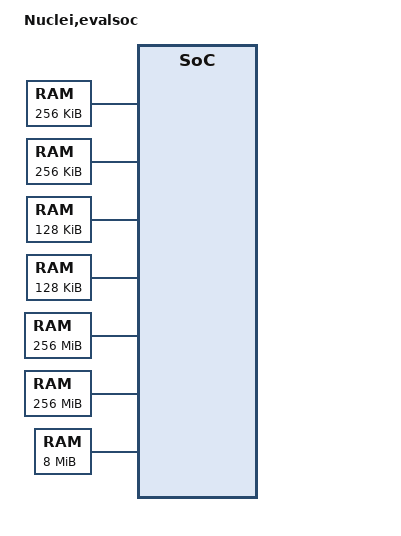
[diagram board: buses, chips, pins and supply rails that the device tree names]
/*
 * Copyright (c) 2021 Tokita, Hiroshi <tokita.hiroshi@gmail.com>
 *
 * SPDX-License-Identifier: Apache-2.0
 */

#include <freq.h>
#include <mem.h>

/ {
	#address-cells = <1>;
	#size-cells = <1>;
	compatible = "nuclei,evalsoc-dev", "nuclei-dev";
	model = "Nuclei,evalsoc";

	clocks {
		coreclk: core-clk {
			#clock-cells = <0>;
			compatible = "fixed-clock";
			clock-frequency = <DT_FREQ_M(50)>;
		};

		tlclk: tl-clk {
			#clock-cells = <0>;
			compatible = "fixed-factor-clock";
			clocks = <&coreclk>;
			clock-div = <1>;
		};
	};

	cpus {
		#address-cells = <1>;
		#size-cells = <0>;

		cpu0: cpu@0 {
			clock-frequency = <DT_FREQ_M(50)>;
			compatible = "nuclei,riscv", "riscv";
			riscv,isa = "rv32imafdc";
			reg = <0>;
			cpu0_intc: interrupt-controller {
				compatible = "riscv,cpu-intc";
				#interrupt-cells = <1>;
				interrupt-controller;
			};

		};

		cpu1: cpu@1 {
			clock-frequency = <DT_FREQ_M(50)>;
			compatible = "nuclei,riscv", "riscv";
			riscv,isa = "rv32imafdc";
			reg = <1>;
			cpu1_intc: interrupt-controller {
				compatible = "riscv,cpu-intc";
				#interrupt-cells = <1>;
				interrupt-controller;
			};
		};

		cpu2: cpu@2 {
			clock-frequency = <DT_FREQ_M(50)>;
			compatible = "nuclei,riscv", "riscv";
			riscv,isa = "rv32imafdc";
			reg = <2>;
			cpu2_intc: interrupt-controller {
				compatible = "riscv,cpu-intc";
				#interrupt-cells = <1>;
				interrupt-controller;
			};
		};

		cpu3: cpu@3 {
			clock-frequency = <DT_FREQ_M(50)>;
			compatible = "nuclei,riscv", "riscv";
			riscv,isa = "rv32imafdc";
			reg = <3>;
			cpu3_intc: interrupt-controller {
				compatible = "riscv,cpu-intc";
				#interrupt-cells = <1>;
				interrupt-controller;
			};
		};

		cpu4: cpu@4 {
			clock-frequency = <DT_FREQ_M(50)>;
			compatible = "nuclei,riscv", "riscv";
			riscv,isa = "rv32imafdc";
			reg = <4>;
			cpu4_intc: interrupt-controller {
				compatible = "riscv,cpu-intc";
				#interrupt-cells = <1>;
				interrupt-controller;
			};
		};

		cpu5: cpu@5 {
			clock-frequency = <DT_FREQ_M(50)>;
			compatible = "nuclei,riscv", "riscv";
			riscv,isa = "rv32imafdc";
			reg = <5>;
			cpu5_intc: interrupt-controller {
				compatible = "riscv,cpu-intc";
				#interrupt-cells = <1>;
				interrupt-controller;
			};
		};

		cpu6: cpu@6 {
			clock-frequency = <DT_FREQ_M(50)>;
			compatible = "nuclei,riscv", "riscv";
			riscv,isa = "rv32imafdc";
			reg = <6>;
			cpu6_intc: interrupt-controller {
				compatible = "riscv,cpu-intc";
				#interrupt-cells = <1>;
				interrupt-controller;
			};
		};

		cpu7: cpu@7 {
			clock-frequency = <DT_FREQ_M(50)>;
			compatible = "nuclei,riscv", "riscv";
			riscv,isa = "rv32imafdc";
			reg = <7>;
			cpu7_intc: interrupt-controller {
				compatible = "riscv,cpu-intc";
				#interrupt-cells = <1>;
				interrupt-controller;
			};
		};
	};

	ilm: memory@80000000 {
		compatible = "mmio-sram";
		reg = <0x80000000 DT_SIZE_K(256)>;
	};

	dlm: memory@90000000 {
		compatible = "mmio-sram";
		reg = <0x90000000 DT_SIZE_K(256)>;
	};

	sram0: memory@A0000000 {
		compatible = "mmio-sram";
		reg = <0xA0000000 DT_SIZE_K(128)>;
	};

	sram1: memory@A0200000 {
		compatible = "mmio-sram";
		reg = <0xA0200000 DT_SIZE_K(128)>;
	};

	ddr0: memory@B0000000 {
		compatible = "mmio-sram";
		reg = <0xB0000000 DT_SIZE_M(256)>;
	};

	ddr1: memory@C0000000 {
		compatible = "mmio-sram";
		reg = <0xC0000000 DT_SIZE_M(256)>;
	};

	flash0: memory@20000000 {
		compatible = "mmio-sram";
		reg = <0x20000000 DT_SIZE_M(8)>;
	};

	soc {
		#address-cells = <1>;
		#size-cells = <1>;
		compatible = "simple-bus";
		interrupt-parent = <&eclic>;
		ranges;

		systimer: timer@18030000 {
			compatible = "nuclei,systimer", "riscv,machine-timer";
			reg = <0x18030000 0x8 0x18030008 0x8>;
			interrupts-extended = <&eclic 7 0>;
		};

		clint: clint@18031000 {
			compatible = "sifive,clint0";
			interrupts-extended = <&cpu0_intc 3 &cpu0_intc 7
					       &cpu1_intc 3 &cpu1_intc 7
					       &cpu2_intc 3 &cpu2_intc 7
					       &cpu3_intc 3 &cpu3_intc 7
					       &cpu4_intc 3 &cpu4_intc 7
					       &cpu5_intc 3 &cpu5_intc 7
					       &cpu6_intc 3 &cpu6_intc 7
					       &cpu7_intc 3 &cpu7_intc 7>;
			reg = <0x18031000 0x10000>;
		};

		eclic: interrupt-controller@18020000 {
			compatible = "nuclei,eclic";
			#address-cells = <0>;
			#interrupt-cells = <2>;
			interrupt-controller;
			reg =  <0x18020000 0x0001
				0x18020004 0x0004
				0x1802000b 0x0001
				0x18021000 0x1000>;
		};

		uart0: serial@10013000 {
			compatible = "nuclei,uart0";
			interrupts = <51 0>;
			reg = <0x10013000 0x1000>;
			reg-names = "control";
			status = "disabled";
		};

	};
};
